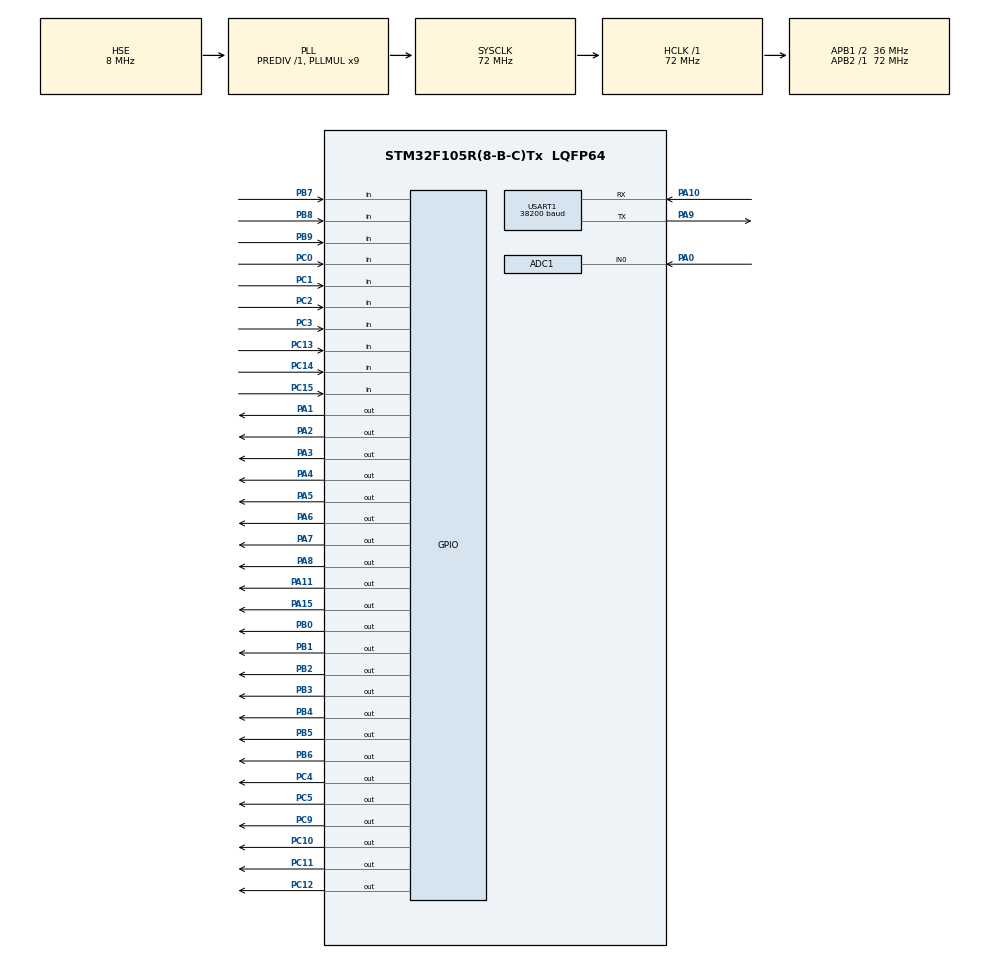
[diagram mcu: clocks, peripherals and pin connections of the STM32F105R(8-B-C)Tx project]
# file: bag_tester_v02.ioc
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ADC1.Channel-0\#ChannelRegularConversion=ADC_CHANNEL_0
ADC1.NbrOfConversion=1
ADC1.NbrOfConversionFlag=1
ADC1.Rank-0\#ChannelRegularConversion=1
ADC1.SamplingTime-0\#ChannelRegularConversion=ADC_SAMPLETIME_239CYCLES_5
ADC1.master=1
FREERTOS.Tasks01=defaultTask,0,128,StartDefaultTask,Default,NULL,Dynamic,NULL,NULL
FREERTOS.configTOTAL_HEAP_SIZE=20000
Mcu.Family=STM32F1
Mcu.Name=STM32F105R(8-B-C)Tx
Mcu.Package=LQFP64
NVIC.ADC1_2_IRQn=true\:5\:0\:false\:false\:true\:true\:true\:true
NVIC.PriorityGroup=NVIC_PRIORITYGROUP_4
NVIC.TIM6_IRQn=true\:5\:0\:false\:false\:true\:true\:true\:true
NVIC.TIM7_IRQn=true\:5\:0\:false\:false\:true\:true\:true\:true
NVIC.USART1_IRQn=true\:5\:0\:false\:false\:true\:true\:true\:true
PA0-WKUP.Signal=ADCx_IN0
PA1.Signal=GPIO_Output
PA10.Mode=Asynchronous
PA10.Signal=USART1_RX
PA11.Signal=GPIO_Output
PA13.Mode=Serial_Wire
PA13.Signal=SYS_JTMS-SWDIO
PA14.Mode=Serial_Wire
PA14.Signal=SYS_JTCK-SWCLK
PA15.Signal=GPIO_Output
PA2.Signal=GPIO_Output
PA3.Signal=GPIO_Output
PA4.Signal=GPIO_Output
PA5.Signal=GPIO_Output
PA6.Signal=GPIO_Output
PA7.Signal=GPIO_Output
PA8.Signal=GPIO_Output
PA9.Mode=Asynchronous
PA9.Signal=USART1_TX
PB0.Signal=GPIO_Output
PB1.Signal=GPIO_Output
PB2.Signal=GPIO_Output
PB3.Signal=GPIO_Output
PB4.Signal=GPIO_Output
PB5.Signal=GPIO_Output
PB6.Signal=GPIO_Output
PB7.GPIO_PuPd=GPIO_PULLUP
PB7.Signal=GPIO_Input
PB8.GPIO_PuPd=GPIO_PULLUP
PB8.Signal=GPIO_Input
PB9.GPIO_PuPd=GPIO_PULLUP
PB9.Signal=GPIO_Input
PC0.Signal=GPIO_Input
PC1.Signal=GPIO_Input
PC10.Signal=GPIO_Output
PC11.Signal=GPIO_Output
PC12.Signal=GPIO_Output
PC13-TAMPER-RTC.GPIO_PuPd=GPIO_PULLUP
PC13-TAMPER-RTC.Signal=GPIO_Input
PC14-OSC32_IN.GPIO_PuPd=GPIO_PULLUP
PC14-OSC32_IN.Signal=GPIO_Input
PC15-OSC32_OUT.GPIO_PuPd=GPIO_PULLUP
PC15-OSC32_OUT.Signal=GPIO_Input
PC2.Signal=GPIO_Input
PC3.Signal=GPIO_Input
PC4.Signal=GPIO_Output
PC5.Signal=GPIO_Output
PC9.Signal=GPIO_Output
PD0-OSC_IN.Mode=HSE-External-Oscillator
PD0-OSC_IN.Signal=RCC_OSC_IN
PD1-OSC_OUT.Mode=HSE-External-Oscillator
PD1-OSC_OUT.Signal=RCC_OSC_OUT
ProjectManager.HeapSize=0x200
ProjectManager.StackSize=0x400
ProjectManager.TargetToolchain=TrueSTUDIO
RCC.ADCPresc=RCC_ADCPCLK2_DIV6
RCC.AHBFreq_Value=72000000
RCC.APB1CLKDivider=RCC_HCLK_DIV2
RCC.APB1Freq_Value=36000000
RCC.APB1TimFreq_Value=72000000
RCC.APB2Freq_Value=72000000
RCC.APB2TimFreq_Value=72000000
RCC.HCLKFreq_Value=72000000
RCC.PLLMUL=RCC_PLL_MUL9
RCC.PLLSourceVirtual=RCC_PLLSOURCE_HSE
RCC.SYSCLKFreq_VALUE=72000000
RCC.SYSCLKSource=RCC_SYSCLKSOURCE_PLLCLK
RCC.USBFreq_Value=48000000
SH.ADCx_IN0.0=ADC1_IN0,IN0
TIM6.Period=4999
TIM6.Prescaler=72
TIM6.TIM_MasterOutputTrigger=TIM_TRGO_UPDATE
TIM7.Period=49
TIM7.Prescaler=71
USART1.BaudRate=38200
USART1.VirtualMode=VM_ASYNC
VP_FREERTOS_VS_CMSIS_V1.Mode=CMSIS_V1
VP_TIM6_VS_ClockSourceINT.Mode=Enable_Timer
VP_TIM7_VS_ClockSourceINT.Mode=Enable_Timer
board=custom

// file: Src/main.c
/* USER CODE BEGIN Header */
/**
  ******************************************************************************
  * @file           : main.c
  * @brief          : Main program body
  ******************************************************************************
  * @attention
  *
  * <h2><center>&copy; Copyright (c) 2020 STMicroelectronics.
  * All rights reserved.</center></h2>
  *
  * This software component is licensed by ST under Ultimate Liberty license
  * SLA0044, the "License"; You may not use this file except in compliance with
  * the License. You may obtain a copy of the License at:
  *                             www.st.com/SLA0044
  *
  ******************************************************************************
  */
/* USER CODE END Header */

#include "main.h"
#include "cmsis_os.h"

/* USER CODE BEGIN Includes */
#include "globals.h"
#include "scanBtnsTask.h"
#include "controllerInit.h"

#include "mb.h"
#include "mbport.h"
/* USER CODE END Includes */

ADC_HandleTypeDef hadc1;

TIM_HandleTypeDef htim6;
TIM_HandleTypeDef htim7;

UART_HandleTypeDef huart1;

osThreadId defaultTaskHandle;
/* USER CODE BEGIN PV */
uint16_t adcRawData = 0;
/* USER CODE END PV */

void SystemClock_Config(void);
static void MX_GPIO_Init(void);
static void MX_ADC1_Init(void);
static void MX_TIM6_Init(void);
static void MX_USART1_UART_Init(void);
static void MX_TIM7_Init(void);
void StartDefaultTask(void const * argument);

int main(void)
{

  /* MCU Configuration--------------------------------------------------------*/

  /* Reset of all peripherals, Initializes the Flash interface and the Systick. */
  HAL_Init();

  /* Configure the system clock */
  SystemClock_Config();

  /* Initialize all configured peripherals */
  MX_GPIO_Init();
  MX_ADC1_Init();
  MX_TIM6_Init();
  MX_USART1_UART_Init();
  MX_TIM7_Init();
  /* USER CODE BEGIN 2 */
  HAL_TIM_Base_Start_IT(&htim6);
  //HAL_ADC_Start_IT(&hadc1);

  controller_init();
  /* USER CODE END 2 */

  /* Create the thread(s) */
  /* definition and creation of defaultTask */
//  osThreadDef(defaultTask, StartDefaultTask, osPriorityNormal, 0, 128);
//  defaultTaskHandle = osThreadCreate(osThread(defaultTask), NULL);

  /* Start scheduler */
  osKernelStart();

  /* We should never get here as control is now taken by the scheduler */
  /* Infinite loop */
  while (1)
  {

  }
}

void SystemClock_Config(void)
{
  RCC_OscInitTypeDef RCC_OscInitStruct = {0};
  RCC_ClkInitTypeDef RCC_ClkInitStruct = {0};
  RCC_PeriphCLKInitTypeDef PeriphClkInit = {0};

  /** Initializes the CPU, AHB and APB busses clocks
  */
  RCC_OscInitStruct.OscillatorType = RCC_OSCILLATORTYPE_HSE;
  RCC_OscInitStruct.HSEState = RCC_HSE_ON;
  RCC_OscInitStruct.HSEPredivValue = RCC_HSE_PREDIV_DIV1;
  RCC_OscInitStruct.HSIState = RCC_HSI_ON;
  RCC_OscInitStruct.Prediv1Source = RCC_PREDIV1_SOURCE_HSE;
  RCC_OscInitStruct.PLL.PLLState = RCC_PLL_ON;
  RCC_OscInitStruct.PLL.PLLSource = RCC_PLLSOURCE_HSE;
  RCC_OscInitStruct.PLL.PLLMUL = RCC_PLL_MUL9;
  RCC_OscInitStruct.PLL2.PLL2State = RCC_PLL_NONE;
  if (HAL_RCC_OscConfig(&RCC_OscInitStruct) != HAL_OK)
  {
    Error_Handler();
  }
  /** Initializes the CPU, AHB and APB busses clocks
  */
  RCC_ClkInitStruct.ClockType = RCC_CLOCKTYPE_HCLK|RCC_CLOCKTYPE_SYSCLK
                              |RCC_CLOCKTYPE_PCLK1|RCC_CLOCKTYPE_PCLK2;
  RCC_ClkInitStruct.SYSCLKSource = RCC_SYSCLKSOURCE_PLLCLK;
  RCC_ClkInitStruct.AHBCLKDivider = RCC_SYSCLK_DIV1;
  RCC_ClkInitStruct.APB1CLKDivider = RCC_HCLK_DIV2;
  RCC_ClkInitStruct.APB2CLKDivider = RCC_HCLK_DIV1;

  if (HAL_RCC_ClockConfig(&RCC_ClkInitStruct, FLASH_LATENCY_2) != HAL_OK)
  {
    Error_Handler();
  }
  PeriphClkInit.PeriphClockSelection = RCC_PERIPHCLK_ADC;
  PeriphClkInit.AdcClockSelection = RCC_ADCPCLK2_DIV6;
  if (HAL_RCCEx_PeriphCLKConfig(&PeriphClkInit) != HAL_OK)
  {
    Error_Handler();
  }
  /** Configure the Systick interrupt time
  */
  __HAL_RCC_PLLI2S_ENABLE();
}

static void MX_ADC1_Init(void)
{

  ADC_ChannelConfTypeDef sConfig = {0};

  /** Common config
  */
  hadc1.Instance = ADC1;
  hadc1.Init.ScanConvMode = ADC_SCAN_DISABLE;
  hadc1.Init.ContinuousConvMode = DISABLE;
  hadc1.Init.DiscontinuousConvMode = DISABLE;
  hadc1.Init.ExternalTrigConv = ADC_SOFTWARE_START;
  hadc1.Init.DataAlign = ADC_DATAALIGN_RIGHT;
  hadc1.Init.NbrOfConversion = 1;
  if (HAL_ADC_Init(&hadc1) != HAL_OK)
  {
    Error_Handler();
  }
  /** Configure Regular Channel
  */
  sConfig.Channel = ADC_CHANNEL_0;
  sConfig.Rank = ADC_REGULAR_RANK_1;
  sConfig.SamplingTime = ADC_SAMPLETIME_239CYCLES_5;
  if (HAL_ADC_ConfigChannel(&hadc1, &sConfig) != HAL_OK)
  {
    Error_Handler();
  }

}

static void MX_TIM6_Init(void)
{

  TIM_MasterConfigTypeDef sMasterConfig = {0};

  htim6.Instance = TIM6;
  htim6.Init.Prescaler = 72;
  htim6.Init.CounterMode = TIM_COUNTERMODE_UP;
  htim6.Init.Period = 4999;
  htim6.Init.AutoReloadPreload = TIM_AUTORELOAD_PRELOAD_DISABLE;
  if (HAL_TIM_Base_Init(&htim6) != HAL_OK)
  {
    Error_Handler();
  }
  sMasterConfig.MasterOutputTrigger = TIM_TRGO_UPDATE;
  sMasterConfig.MasterSlaveMode = TIM_MASTERSLAVEMODE_DISABLE;
  if (HAL_TIMEx_MasterConfigSynchronization(&htim6, &sMasterConfig) != HAL_OK)
  {
    Error_Handler();
  }

}

static void MX_TIM7_Init(void)
{

  TIM_MasterConfigTypeDef sMasterConfig = {0};

  htim7.Instance = TIM7;
  htim7.Init.Prescaler = 71;
  htim7.Init.CounterMode = TIM_COUNTERMODE_UP;
  htim7.Init.Period = 49;
  htim7.Init.AutoReloadPreload = TIM_AUTORELOAD_PRELOAD_DISABLE;
  if (HAL_TIM_Base_Init(&htim7) != HAL_OK)
  {
    Error_Handler();
  }
  sMasterConfig.MasterOutputTrigger = TIM_TRGO_RESET;
  sMasterConfig.MasterSlaveMode = TIM_MASTERSLAVEMODE_DISABLE;
  if (HAL_TIMEx_MasterConfigSynchronization(&htim7, &sMasterConfig) != HAL_OK)
  {
    Error_Handler();
  }

}

static void MX_USART1_UART_Init(void)
{

  huart1.Instance = USART1;
  huart1.Init.BaudRate = 38200;
  huart1.Init.WordLength = UART_WORDLENGTH_8B;
  huart1.Init.StopBits = UART_STOPBITS_1;
  huart1.Init.Parity = UART_PARITY_NONE;
  huart1.Init.Mode = UART_MODE_TX_RX;
  huart1.Init.HwFlowCtl = UART_HWCONTROL_NONE;
  huart1.Init.OverSampling = UART_OVERSAMPLING_16;
  if (HAL_UART_Init(&huart1) != HAL_OK)
  {
    Error_Handler();
  }

}

static void MX_GPIO_Init(void)
{
  GPIO_InitTypeDef GPIO_InitStruct = {0};

  /* GPIO Ports Clock Enable */
  __HAL_RCC_GPIOC_CLK_ENABLE();
  __HAL_RCC_GPIOD_CLK_ENABLE();
  __HAL_RCC_GPIOA_CLK_ENABLE();
  __HAL_RCC_GPIOB_CLK_ENABLE();

  /*Configure GPIO pin Output Level */
  HAL_GPIO_WritePin(GPIOA, GPIO_PIN_1|GPIO_PIN_2|GPIO_PIN_3|GPIO_PIN_4
                          |GPIO_PIN_5|GPIO_PIN_6|GPIO_PIN_7|GPIO_PIN_8
                          |GPIO_PIN_11|GPIO_PIN_15, GPIO_PIN_RESET);

  /*Configure GPIO pin Output Level */
  HAL_GPIO_WritePin(GPIOC, GPIO_PIN_4|GPIO_PIN_5|GPIO_PIN_9|GPIO_PIN_10
                          |GPIO_PIN_11|GPIO_PIN_12, GPIO_PIN_RESET);

  /*Configure GPIO pin Output Level */
  HAL_GPIO_WritePin(GPIOB, GPIO_PIN_0|GPIO_PIN_1|GPIO_PIN_2|GPIO_PIN_3
                          |GPIO_PIN_4|GPIO_PIN_5|GPIO_PIN_6, GPIO_PIN_RESET);

  /*Configure GPIO pins : PC13 PC14 PC15 */
  GPIO_InitStruct.Pin = GPIO_PIN_13|GPIO_PIN_14|GPIO_PIN_15;
  GPIO_InitStruct.Mode = GPIO_MODE_INPUT;
  GPIO_InitStruct.Pull = GPIO_PULLUP;
  HAL_GPIO_Init(GPIOC, &GPIO_InitStruct);

  /*Configure GPIO pins : PC0 PC1 PC2 PC3 */
  GPIO_InitStruct.Pin = GPIO_PIN_0|GPIO_PIN_1|GPIO_PIN_2|GPIO_PIN_3;
  GPIO_InitStruct.Mode = GPIO_MODE_INPUT;
  GPIO_InitStruct.Pull = GPIO_NOPULL;
  HAL_GPIO_Init(GPIOC, &GPIO_InitStruct);

  /*Configure GPIO pins : PA1 PA2 PA3 PA4
                           PA5 PA6 PA7 PA8
                           PA11 PA15 */
  GPIO_InitStruct.Pin = GPIO_PIN_1|GPIO_PIN_2|GPIO_PIN_3|GPIO_PIN_4
                          |GPIO_PIN_5|GPIO_PIN_6|GPIO_PIN_7|GPIO_PIN_8
                          |GPIO_PIN_11|GPIO_PIN_15;
  GPIO_InitStruct.Mode = GPIO_MODE_OUTPUT_PP;
  GPIO_InitStruct.Pull = GPIO_NOPULL;
  GPIO_InitStruct.Speed = GPIO_SPEED_FREQ_LOW;
  HAL_GPIO_Init(GPIOA, &GPIO_InitStruct);

  /*Configure GPIO pins : PC4 PC5 PC9 PC10
                           PC11 PC12 */
  GPIO_InitStruct.Pin = GPIO_PIN_4|GPIO_PIN_5|GPIO_PIN_9|GPIO_PIN_10
                          |GPIO_PIN_11|GPIO_PIN_12;
  GPIO_InitStruct.Mode = GPIO_MODE_OUTPUT_PP;
  GPIO_InitStruct.Pull = GPIO_NOPULL;
  GPIO_InitStruct.Speed = GPIO_SPEED_FREQ_LOW;
  HAL_GPIO_Init(GPIOC, &GPIO_InitStruct);

  /*Configure GPIO pins : PB0 PB1 PB2 PB3
                           PB4 PB5 PB6 */
  GPIO_InitStruct.Pin = GPIO_PIN_0|GPIO_PIN_1|GPIO_PIN_2|GPIO_PIN_3
                          |GPIO_PIN_4|GPIO_PIN_5|GPIO_PIN_6;
  GPIO_InitStruct.Mode = GPIO_MODE_OUTPUT_PP;
  GPIO_InitStruct.Pull = GPIO_NOPULL;
  GPIO_InitStruct.Speed = GPIO_SPEED_FREQ_LOW;
  HAL_GPIO_Init(GPIOB, &GPIO_InitStruct);

  /*Configure GPIO pins : PB7 PB8 PB9 */
  GPIO_InitStruct.Pin = GPIO_PIN_7|GPIO_PIN_8|GPIO_PIN_9;
  GPIO_InitStruct.Mode = GPIO_MODE_INPUT;
  GPIO_InitStruct.Pull = GPIO_PULLUP;
  HAL_GPIO_Init(GPIOB, &GPIO_InitStruct);

}

/* USER CODE BEGIN 4 */
void HAL_ADC_ConvCpltCallback(ADC_HandleTypeDef* hadc1){

	adcRawData = HAL_ADC_GetValue(hadc1);
	HAL_ADC_Stop_IT(hadc1);

}

void __critical_enter(void){
	portENTER_CRITICAL();
}
void __critical_exit(void){
	portEXIT_CRITICAL();
}
/* USER CODE END 4 */

void StartDefaultTask(void const * argument)
{
  /* USER CODE BEGIN 5 */

  /* Infinite loop */
  for(;;)
  {
    osDelay(500);
  }
  /* USER CODE END 5 */
}

void Error_Handler(void)
{
}

/************************ (C) COPYRIGHT STMicroelectronics *****END OF FILE****/
